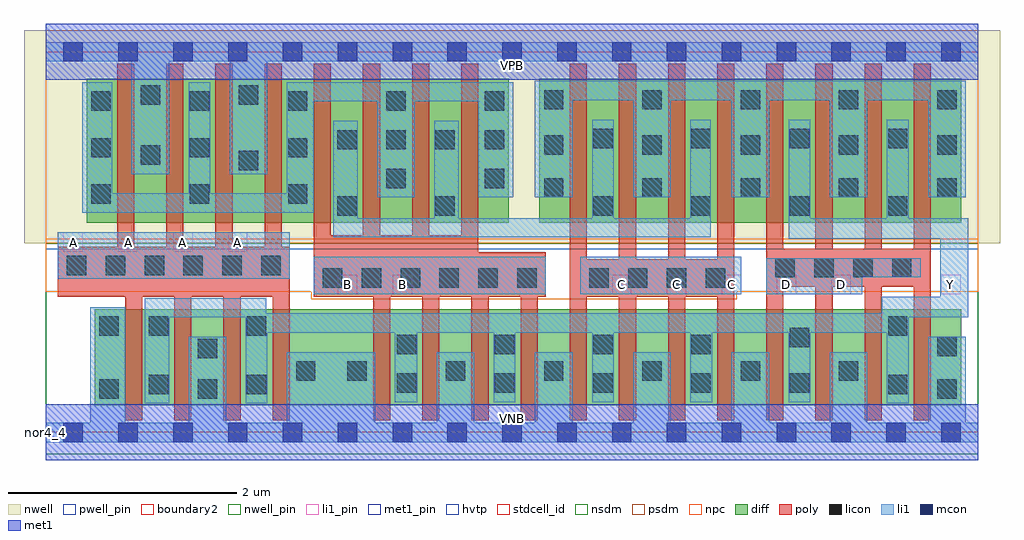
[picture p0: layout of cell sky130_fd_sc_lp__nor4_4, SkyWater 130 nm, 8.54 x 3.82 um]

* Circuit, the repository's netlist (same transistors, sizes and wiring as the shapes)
* Copyright 2020 The SkyWater PDK Authors
*
* Licensed under the Apache License, Version 2.0 (the "License");
* you may not use this file except in compliance with the License.
* You may obtain a copy of the License at
*
*     https://www.apache.org/licenses/LICENSE-2.0
*
* Unless required by applicable law or agreed to in writing, software
* distributed under the License is distributed on an "AS IS" BASIS,
* WITHOUT WARRANTIES OR CONDITIONS OF ANY KIND, either express or implied.
* See the License for the specific language governing permissions and
* limitations under the License.
*
* SPDX-License-Identifier: Apache-2.0

.SUBCKT sky130_fd_sc_lp__nor4_4 A B C D VGND VNB VPB VPWR Y
*.PININFO A:I B:I C:I D:I VGND:I VNB:I VPB:I VPWR:I Y:O
MMP0 VPWR A sndPA VPB sky130_fd_pr__pfet_01v8_hvt m=4 w=1.26U l=0.15U mult=1 sa=0.265
+ sb=0.265 sd=0.28 area=0.028 perim=0.76
MMP1 sndPA B sndPB VPB sky130_fd_pr__pfet_01v8_hvt m=4 w=1.26U l=0.15U mult=1 sa=0.265
+ sb=0.265 sd=0.28 area=0.028 perim=0.76
MMP2 sndPB C sndPC VPB sky130_fd_pr__pfet_01v8_hvt m=4 w=1.26U l=0.15U mult=1 sa=0.265
+ sb=0.265 sd=0.28 area=0.028 perim=0.76
MMP3 sndPC D Y VPB sky130_fd_pr__pfet_01v8_hvt m=4 w=1.26U l=0.15U mult=1 sa=0.265
+ sb=0.265 sd=0.28 area=0.028 perim=0.76
MMN0 Y A VGND VNB sky130_fd_pr__nfet_01v8 m=4 w=0.84U l=0.15U mult=1 sa=0.265 sb=0.265
+ sd=0.28 area=0.028 perim=0.76
MMN1 Y B VGND VNB sky130_fd_pr__nfet_01v8 m=4 w=0.84U l=0.15U mult=1 sa=0.265 sb=0.265
+ sd=0.28 area=0.028 perim=0.76
MMN2 Y C VGND VNB sky130_fd_pr__nfet_01v8 m=4 w=0.84U l=0.15U mult=1 sa=0.265 sb=0.265
+ sd=0.28 area=0.028 perim=0.76
MMN3 Y D VGND VNB sky130_fd_pr__nfet_01v8 m=4 w=0.84U l=0.15U mult=1 sa=0.265 sb=0.265
+ sd=0.28 area=0.028 perim=0.76
.ENDS sky130_fd_sc_lp__nor4_4

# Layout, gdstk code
import gdstk
lib = gdstk.Library(unit=1e-6, precision=1e-09)
def R(c, l, rs):  # rectangles x0, y0, x1, y1
    for r in rs: c.add(gdstk.rectangle(r[:2], r[2:], *l))
def A(c, l, x, y, w, h, nx, ny, dx, dy):  # array of equal rectangles
    R(c, l, [(x+i*dx, y+j*dy, x+i*dx+w, y+j*dy+h) for i in range(nx) for j in range(ny)])
def P(c, l, *ps):  # polygons
    for p in ps: c.add(gdstk.Polygon(p, *l))
nwell_pin = (64, 16)
nwell = (64, 20)
diff = (65, 20)
poly = (66, 20)
licon = (66, 44)
li1_pin = (67, 16)
li1 = (67, 20)
mcon = (67, 44)
met1_pin = (68, 16)
met1 = (68, 20)
hvtp = (78, 44)
stdcell_id = (81, 4)
nsdm = (93, 44)
psdm = (94, 20)
npc = (95, 20)
pwell_pin = (122, 16)
boundary2 = (236, 0)

sky130_fd_sc_lp__nor4_4 = lib.new_cell('sky130_fd_sc_lp__nor4_4')
R(sky130_fd_sc_lp__nor4_4, nwell_pin, [(0,3.085,8.16,3.33)])
R(sky130_fd_sc_lp__nor4_4, nwell, [(-0.19,1.655,8.35,3.52)])
R(sky130_fd_sc_lp__nor4_4, diff, [(0.43,0.235,8.01,1.075), (0.36,1.835,4.05,3.095), (4.32,1.835,8.01,3.095)])
P(sky130_fd_sc_lp__nor4_4, poly, [(6.025,3.225),(5.875,3.225),(5.875,1.515),(5.595,1.515),(5.595,3.225),(5.445,3.225),(5.445,1.515),(5.165,1.515),(5.165,3.225),(5.015,3.225),(5.015,1.515),(4.735,1.515),(4.735,3.225),(4.585,3.225),(4.585,0.105),(4.735,0.105),(4.735,1.185),(5.015,1.185),(5.015,0.105),(5.165,0.105),(5.165,1.185),(5.445,1.185),(5.445,0.105),(5.595,0.105),(5.595,1.185),(5.875,1.185),(5.875,0.105),(6.025,0.105)],
  [(2.135,1.625),(2.065,1.625),(2.065,3.225),(1.915,3.225),(1.915,1.625),(1.635,1.625),(1.635,3.225),(1.485,3.225),(1.485,1.625),(1.205,1.625),(1.205,3.225),(1.055,3.225),(1.055,1.625),(0.775,1.625),(0.775,3.225),(0.625,3.225),(0.625,1.625),(0.105,1.625),(0.105,1.185),(0.695,1.185),(0.695,0.105),(0.845,0.105),(0.845,1.185),(1.125,1.185),(1.125,0.105),(1.275,0.105),(1.275,1.185),(1.555,1.185),(1.555,0.105),(1.705,0.105),(1.705,1.185),(1.985,1.185),(1.985,0.105),(2.135,0.105)],
  [(4.375,1.575),(3.785,1.575),(3.785,3.225),(3.635,3.225),(3.635,1.725),(3.355,1.725),(3.355,3.225),(3.205,3.225),(3.205,1.725),(2.925,1.725),(2.925,3.225),(2.775,3.225),(2.775,1.725),(2.495,1.725),(2.495,3.225),(2.345,3.225),(2.345,1.185),(2.865,1.185),(2.865,0.105),(3.015,0.105),(3.015,1.185),(3.295,1.185),(3.295,0.105),(3.445,0.105),(3.445,1.185),(3.725,1.185),(3.725,0.105),(3.875,0.105),(3.875,1.185),(4.155,1.185),(4.155,0.105),(4.305,0.105),(4.305,1.185),(4.375,1.185)],
  [(7.745,3.225),(7.595,3.225),(7.595,1.605),(7.315,1.605),(7.315,3.225),(7.165,3.225),(7.165,1.605),(6.885,1.605),(6.885,3.225),(6.735,3.225),(6.735,1.605),(6.455,1.605),(6.455,3.225),(6.305,3.225),(6.305,0.105),(6.455,0.105),(6.455,1.275),(6.735,1.275),(6.735,0.105),(6.885,0.105),(6.885,1.275),(7.165,1.275),(7.165,0.105),(7.315,0.105),(7.315,1.275),(7.595,1.275),(7.595,0.105),(7.745,0.105)])
A(sky130_fd_sc_lp__nor4_4, licon, 3.07, 0.345, 0.17, 0.17, 5, 1, 0.86, 0)
A(sky130_fd_sc_lp__nor4_4, licon, 2.64, 0.45, 0.17, 0.17, 6, 1, 0.86, 0)
A(sky130_fd_sc_lp__nor4_4, licon, 3.07, 0.685, 0.17, 0.17, 4, 1, 0.86, 0)
A(sky130_fd_sc_lp__nor4_4, licon, 2.425, 1.265, 0.17, 0.17, 6, 1, 0.34, 0)
A(sky130_fd_sc_lp__nor4_4, licon, 4.755, 1.265, 0.17, 0.17, 4, 1, 0.34, 0)
A(sky130_fd_sc_lp__nor4_4, licon, 6.385, 1.355, 0.17, 0.17, 4, 1, 0.34, 0)
A(sky130_fd_sc_lp__nor4_4, licon, 0.185, 1.375, 0.17, 0.17, 6, 1, 0.34, 0)
A(sky130_fd_sc_lp__nor4_4, licon, 4.79, 1.895, 0.17, 0.17, 4, 2, 0.86, 0.59)
A(sky130_fd_sc_lp__nor4_4, licon, 0.4, 2, 0.17, 0.17, 3, 2, 0.86, 0.405)
A(sky130_fd_sc_lp__nor4_4, licon, 4.36, 2.055, 0.17, 0.17, 5, 2, 0.86, 0.375)
A(sky130_fd_sc_lp__nor4_4, licon, 2.55, 2.475, 0.17, 0.17, 4, 1, 0.43, 0)
A(sky130_fd_sc_lp__nor4_4, licon, 0.4, 2.815, 0.17, 0.17, 5, 1, 0.86, 0)
A(sky130_fd_sc_lp__nor4_4, licon, 4.36, 2.825, 0.17, 0.17, 5, 1, 0.86, 0)
R(sky130_fd_sc_lp__nor4_4, licon, [(0.47,0.295,0.64,0.465), (1.33,0.295,1.5,0.465), (7.8,0.295,7.97,0.465), (0.9,0.335,1.07,0.505), (1.76,0.335,1.93,0.505), (7.37,0.335,7.54,0.505), (2.19,0.45,2.36,0.62), (1.33,0.65,1.5,0.82), (7.8,0.665,7.97,0.835), (6.51,0.745,6.68,0.915), (0.47,0.845,0.64,1.015), (0.9,0.845,1.07,1.015), (1.76,0.845,1.93,1.015), (7.37,0.845,7.54,1.015), (2.55,1.895,2.72,2.065), (3.41,1.895,3.58,2.065), (2.98,2.135,3.15,2.305), (3.84,2.135,4.01,2.305), (1.69,2.295,1.86,2.465), (0.83,2.34,1,2.51), (0.83,2.865,1,3.035), (1.69,2.865,1.86,3.035)])
A(sky130_fd_sc_lp__nor4_4, li1_pin, 4.955, 1.21, 0.17, 0.17, 5, 1, 0.48, 0)
A(sky130_fd_sc_lp__nor4_4, li1_pin, 0.155, 1.58, 0.17, 0.17, 4, 1, 0.48, 0)
R(sky130_fd_sc_lp__nor4_4, li1_pin, [(2.555,1.21,2.725,1.38), (3.035,1.21,3.205,1.38), (7.835,1.21,8.005,1.38)])
R(sky130_fd_sc_lp__nor4_4, li1, [(2.345,1.21,4.375,1.535), (4.675,1.21,6.085,1.535), (0.105,1.345,2.135,1.75)])
P(sky130_fd_sc_lp__nor4_4, li1, [(1.61,2.26),(1.61,3.245),(1.08,3.245),(1.08,2.26),(0.75,2.26),(0.75,3.245),(0,3.245),(0,3.415),(8.16,3.415),(8.16,3.245),(1.94,3.245),(1.94,2.26)],
  [(3.42,0.085),(3.42,0.7),(3.75,0.7),(3.75,0.085),(4.28,0.085),(4.28,0.7),(4.61,0.7),(4.61,0.085),(5.14,0.085),(5.14,0.7),(5.47,0.7),(5.47,0.085),(6,0.085),(6,0.7),(6.33,0.7),(6.33,0.085),(6.86,0.085),(6.86,0.7),(7.19,0.7),(7.19,0.085),(7.72,0.085),(7.72,0.835),(8.05,0.835),(8.05,0.085),(8.16,0.085),(8.16,-0.085),(0,-0.085),(0,0.085),(0.39,0.085),(0.39,1.095),(0.695,1.095),(0.695,0.085),(1.25,0.085),(1.25,0.835),(1.58,0.835),(1.58,0.085),(2.11,0.085),(2.11,0.7),(2.885,0.7),(2.885,0.085)],
  [(6.305,1.21),(6.305,1.525),(7.655,1.525),(7.655,1.355),(7.145,1.355),(7.145,1.21)],
  [(8.05,3.075),(8.05,2.055),(7.72,2.055),(7.72,2.905),(7.19,2.905),(7.19,2.055),(6.86,2.055),(6.86,2.905),(6.33,2.905),(6.33,2.055),(6,2.055),(6,2.905),(5.47,2.905),(5.47,2.055),(5.14,2.055),(5.14,2.905),(4.61,2.905),(4.61,2.055),(4.28,2.055),(4.28,3.075)],
  [(6.69,1.875),(7.36,1.875),(7.36,2.735),(7.55,2.735),(7.55,1.875),(8.07,1.875),(8.07,1.005),(7.55,1.005),(7.55,0.255),(7.36,0.255),(7.36,0.87),(6.69,0.87),(6.69,0.265),(6.5,0.265),(6.5,0.87),(5.83,0.87),(5.83,0.265),(5.64,0.265),(5.64,0.87),(4.97,0.87),(4.97,0.265),(4.78,0.265),(4.78,0.87),(4.11,0.87),(4.11,0.265),(3.92,0.265),(3.92,0.87),(3.25,0.87),(3.25,0.265),(3.055,0.265),(3.055,0.87),(1.94,0.87),(1.94,0.255),(1.75,0.255),(1.75,1.005),(1.08,1.005),(1.08,0.255),(0.865,0.255),(0.865,1.175),(1.93,1.175),(1.93,1.04),(7.315,1.04),(7.315,1.185),(7.825,1.185),(7.825,1.695),(6.5,1.695),(6.5,2.735),(6.69,2.735)],
  [(4.97,1.875),(5.64,1.875),(5.64,2.735),(5.82,2.735),(5.82,1.705),(2.515,1.705),(2.515,2.725),(2.73,2.725),(2.73,1.875),(3.4,1.875),(3.4,2.725),(3.615,2.725),(3.615,1.875),(4.78,1.875),(4.78,2.735),(4.97,2.735)],
  [(2.9,2.895),(2.345,2.895),(2.345,1.92),(0.32,1.92),(0.32,3.065),(0.58,3.065),(0.58,2.09),(1.25,2.09),(1.25,3.065),(1.44,3.065),(1.44,2.09),(2.11,2.09),(2.11,3.065),(4.09,3.065),(4.09,2.055),(3.785,2.055),(3.785,2.895),(3.23,2.895),(3.23,2.055),(2.9,2.055)])
A(sky130_fd_sc_lp__nor4_4, mcon, 0.155, -0.085, 0.17, 0.17, 17, 2, 0.48, 3.33)
R(sky130_fd_sc_lp__nor4_4, met1_pin, [(0,0,8.16,0.245), (0,3.085,8.16,3.33)])
R(sky130_fd_sc_lp__nor4_4, met1, [(0,-0.245,8.16,0.245), (0,3.085,8.16,3.575)])
R(sky130_fd_sc_lp__nor4_4, hvtp, [(0,1.6,8.16,3.33)])
R(sky130_fd_sc_lp__nor4_4, stdcell_id, [(0,0,8.16,3.33)])
R(sky130_fd_sc_lp__nor4_4, nsdm, [(0,-0.19,8.16,1.655)])
R(sky130_fd_sc_lp__nor4_4, psdm, [(0,1.655,8.16,3.52)])
P(sky130_fd_sc_lp__nor4_4, npc, [(8.16,1.695),(0,1.695),(0,1.23),(2.325,1.23),(2.325,1.165),(6.045,1.165),(6.045,1.23),(8.16,1.23)])
R(sky130_fd_sc_lp__nor4_4, pwell_pin, [(0,0,8.16,0.245)])
R(sky130_fd_sc_lp__nor4_4, boundary2, [(0,0,8.16,3.33)])
sky130_fd_sc_lp__nor4_4.add(gdstk.Label('VNB', (4.08,0.123), layer=64, texttype=59))
sky130_fd_sc_lp__nor4_4.add(gdstk.Label('VPB', (4.08,3.208), layer=64, texttype=5))
sky130_fd_sc_lp__nor4_4.add(gdstk.Label('nor4_4', (0,0), layer=83, texttype=44))
sky130_fd_sc_lp__nor4_4.add(gdstk.Label('VPWR', (4.08,3.208), layer=68, texttype=5))
sky130_fd_sc_lp__nor4_4.add(gdstk.Label('VGND', (4.08,0.123), layer=68, texttype=5))
sky130_fd_sc_lp__nor4_4.add(gdstk.Label('A', (0.24,1.665), layer=67, texttype=5))
sky130_fd_sc_lp__nor4_4.add(gdstk.Label('A', (0.72,1.665), layer=67, texttype=5))
sky130_fd_sc_lp__nor4_4.add(gdstk.Label('A', (1.2,1.665), layer=67, texttype=5))
sky130_fd_sc_lp__nor4_4.add(gdstk.Label('A', (1.68,1.665), layer=67, texttype=5))
sky130_fd_sc_lp__nor4_4.add(gdstk.Label('B', (2.64,1.295), layer=67, texttype=5))
sky130_fd_sc_lp__nor4_4.add(gdstk.Label('B', (3.12,1.295), layer=67, texttype=5))
sky130_fd_sc_lp__nor4_4.add(gdstk.Label('C', (5.04,1.295), layer=67, texttype=5))
sky130_fd_sc_lp__nor4_4.add(gdstk.Label('C', (5.52,1.295), layer=67, texttype=5))
sky130_fd_sc_lp__nor4_4.add(gdstk.Label('C', (6,1.295), layer=67, texttype=5))
sky130_fd_sc_lp__nor4_4.add(gdstk.Label('D', (6.48,1.295), layer=67, texttype=5))
sky130_fd_sc_lp__nor4_4.add(gdstk.Label('D', (6.96,1.295), layer=67, texttype=5))
sky130_fd_sc_lp__nor4_4.add(gdstk.Label('Y', (7.92,1.295), layer=67, texttype=5))

lib.write_gds('sky130_fd_sc_lp__nor4_4.gds')
